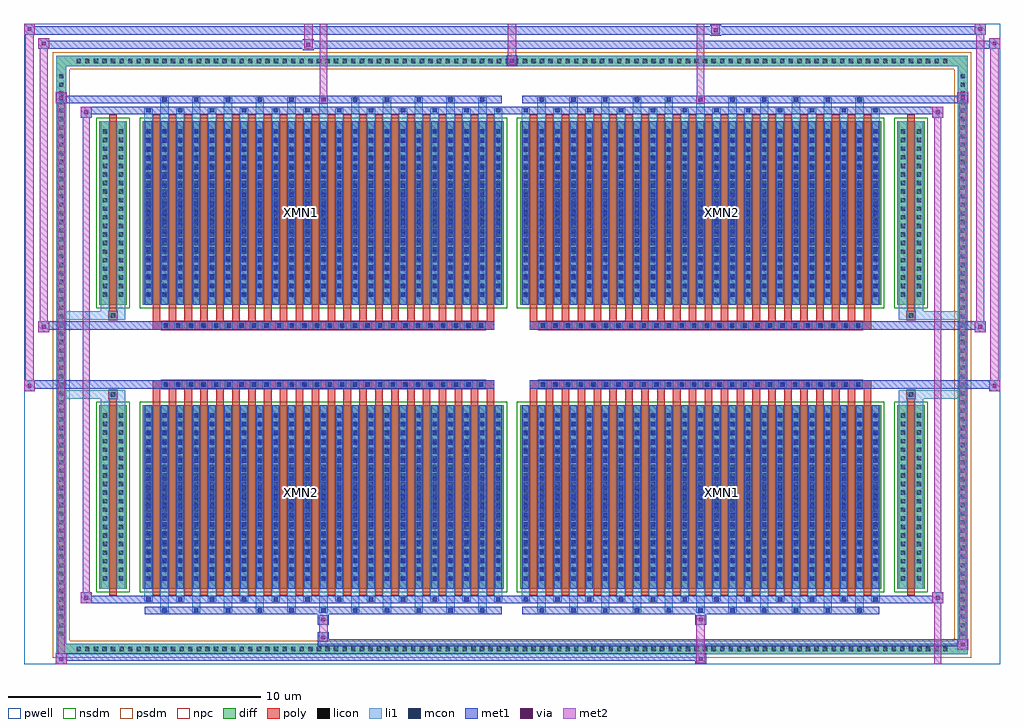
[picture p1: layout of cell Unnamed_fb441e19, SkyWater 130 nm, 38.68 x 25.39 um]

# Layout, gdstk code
import gdstk
lib = gdstk.Library(unit=1e-6, precision=1e-09)
def R(c, l, rs):  # rectangles x0, y0, x1, y1
    for r in rs: c.add(gdstk.rectangle(r[:2], r[2:], *l))
def A(c, l, x, y, w, h, nx, ny, dx, dy):  # array of equal rectangles
    R(c, l, [(x+i*dx, y+j*dy, x+i*dx+w, y+j*dy+h) for i in range(nx) for j in range(ny)])
def P(c, l, *ps):  # polygons
    for p in ps: c.add(gdstk.Polygon(p, *l))
pwell = (64, 44)
diff = (65, 20)
poly = (66, 20)
licon = (66, 44)
li1 = (67, 20)
mcon = (67, 44)
met1 = (68, 20)
via = (68, 44)
met2 = (69, 20)
nsdm = (93, 44)
psdm = (94, 20)
npc = (95, 20)

unnamed_fb441e19 = lib.new_cell('Unnamed_fb441e19')
R(unnamed_fb441e19, pwell, [(-19.34,-12.26,19.34,13.13), (-16.66,-10.45,-0.01,-0.805), (0.01,-10.45,16.66,-0.805), (-16.66,0.805,-0.01,10.45), (0.01,0.805,16.66,10.45)])
A(unnamed_fb441e19, diff, -17.375, -11.86, 0.41, 0.41, 102, 2, 0.34, 23.31)
A(unnamed_fb441e19, diff, -18.07, -11.255, 0.41, 0.41, 1, 66, 0, 0.34)
A(unnamed_fb441e19, diff, 17.66, -11.255, 0.41, 0.41, 1, 66, 0, 0.34)
R(unnamed_fb441e19, diff, [(-17.375,-11.86,17.375,-11.45), (-18.07,-11.255,-17.66,11.255), (17.66,-11.255,18.07,11.255), (-16.35,-9.265,-15.27,-1.985), (-14.63,-9.265,-0.32,-1.985), (0.32,-9.265,14.63,-1.985), (15.27,-9.265,16.35,-1.985), (-16.35,1.985,-15.27,9.265), (-14.63,1.985,-0.32,9.265), (0.32,1.985,14.63,9.265), (15.27,1.985,16.35,9.265), (-17.375,11.45,17.375,11.86)])
P(unnamed_fb441e19, diff, [(18.07,11.86),(-18.07,11.86),(-18.07,-11.45),(-17.66,-11.45),(-17.66,11.45),(17.66,11.45),(17.66,-11.45),(-17.66,-11.45),(-18.07,-11.45),(-18.07,-11.86),(18.07,-11.86)])
A(unnamed_fb441e19, poly, -14.24, -9.515, 0.3, 7.78, 22, 2, 0.63, 11.25)
A(unnamed_fb441e19, poly, 0.71, -9.515, 0.3, 7.78, 22, 2, 0.63, 11.25)
A(unnamed_fb441e19, poly, -14.24, -1.735, 0.3, 0.4, 22, 2, 0.63, 3.07)
A(unnamed_fb441e19, poly, 0.71, -1.735, 0.3, 0.4, 22, 2, 0.63, 3.07)
A(unnamed_fb441e19, poly, -13.89, -1.335, 0.33, 0.33, 26, 2, 0.5, 2.34)
A(unnamed_fb441e19, poly, 1.06, -1.335, 0.33, 0.33, 26, 2, 0.5, 2.34)
R(unnamed_fb441e19, poly, [(-15.96,-9.515,-15.66,-1.735), (15.66,-9.515,15.96,-1.735), (-15.975,-1.735,-15.645,-1.405), (-15.975,-1.735,-15.645,-1.405), (15.645,-1.735,15.975,-1.405), (15.645,-1.735,15.975,-1.405), (-14.24,-1.335,-0.71,-1.005), (0.71,-1.335,14.24,-1.005), (-14.24,1.005,-0.71,1.335), (0.71,1.005,14.24,1.335), (-15.975,1.405,-15.645,1.735), (-15.975,1.405,-15.645,1.735), (15.645,1.405,15.975,1.735), (15.645,1.405,15.975,1.735), (-15.96,1.735,-15.66,9.515), (15.66,1.735,15.96,9.515)])
A(unnamed_fb441e19, licon, -17.255, -11.74, 0.17, 0.17, 102, 2, 0.34, 23.31)
A(unnamed_fb441e19, licon, -17.95, -11.135, 0.17, 0.17, 1, 66, 0, 0.34)
A(unnamed_fb441e19, licon, 17.78, -11.135, 0.17, 0.17, 1, 66, 0, 0.34)
A(unnamed_fb441e19, licon, -16.21, -8.94, 0.17, 0.17, 1, 20, 0, 0.34)
A(unnamed_fb441e19, licon, -15.58, -8.94, 0.17, 0.17, 1, 20, 0, 0.34)
A(unnamed_fb441e19, licon, -14.49, -8.94, 0.17, 0.17, 23, 20, 0.63, 0.34)
A(unnamed_fb441e19, licon, 0.46, -8.94, 0.17, 0.17, 23, 20, 0.63, 0.34)
A(unnamed_fb441e19, licon, 15.41, -8.94, 0.17, 0.17, 1, 20, 0, 0.34)
A(unnamed_fb441e19, licon, 16.04, -8.94, 0.17, 0.17, 1, 20, 0, 0.34)
A(unnamed_fb441e19, licon, -13.81, -1.255, 0.17, 0.17, 26, 2, 0.5, 2.34)
A(unnamed_fb441e19, licon, 1.14, -1.255, 0.17, 0.17, 26, 2, 0.5, 2.34)
A(unnamed_fb441e19, licon, -16.21, 2.31, 0.17, 0.17, 1, 20, 0, 0.34)
A(unnamed_fb441e19, licon, -15.58, 2.31, 0.17, 0.17, 1, 20, 0, 0.34)
A(unnamed_fb441e19, licon, -14.49, 2.31, 0.17, 0.17, 23, 20, 0.63, 0.34)
A(unnamed_fb441e19, licon, 0.46, 2.31, 0.17, 0.17, 23, 20, 0.63, 0.34)
A(unnamed_fb441e19, licon, 15.41, 2.31, 0.17, 0.17, 1, 20, 0, 0.34)
A(unnamed_fb441e19, licon, 16.04, 2.31, 0.17, 0.17, 1, 20, 0, 0.34)
R(unnamed_fb441e19, licon, [(-15.895,-1.655,-15.725,-1.485), (15.725,-1.655,15.895,-1.485), (-15.895,1.485,-15.725,1.655), (15.725,1.485,15.895,1.655)])
A(unnamed_fb441e19, li1, -17.335, -11.82, 0.33, 0.33, 102, 2, 0.34, 23.31)
A(unnamed_fb441e19, li1, -18.03, -11.215, 0.33, 0.33, 1, 66, 0, 0.34)
A(unnamed_fb441e19, li1, 17.7, -11.215, 0.33, 0.33, 1, 66, 0, 0.34)
A(unnamed_fb441e19, li1, -13.94, -10.21, 0.33, 0.945, 11, 2, 1.26, 19.475)
A(unnamed_fb441e19, li1, -13.86, -10.21, 0.17, 0.17, 11, 2, 1.26, 20.25)
A(unnamed_fb441e19, li1, 1.01, -10.21, 0.33, 0.945, 11, 2, 1.26, 19.475)
A(unnamed_fb441e19, li1, 1.09, -10.21, 0.17, 0.17, 11, 2, 1.26, 20.25)
A(unnamed_fb441e19, li1, -14.57, -9.78, 0.33, 0.515, 12, 2, 1.26, 19.045)
A(unnamed_fb441e19, li1, -14.49, -9.78, 0.17, 0.17, 12, 2, 1.26, 19.39)
A(unnamed_fb441e19, li1, 0.38, -9.78, 0.33, 0.515, 12, 2, 1.26, 19.045)
A(unnamed_fb441e19, li1, 0.46, -9.78, 0.17, 0.17, 12, 2, 1.26, 19.39)
A(unnamed_fb441e19, li1, -14.57, -9.265, 0.33, 7.28, 23, 2, 0.63, 11.25)
A(unnamed_fb441e19, li1, 0.38, -9.265, 0.33, 7.28, 23, 2, 0.63, 11.25)
A(unnamed_fb441e19, li1, -16.29, -9.02, 0.33, 0.33, 1, 20, 0, 0.34)
A(unnamed_fb441e19, li1, -15.66, -9.02, 0.33, 0.33, 1, 20, 0, 0.34)
A(unnamed_fb441e19, li1, -14.57, -9.02, 0.33, 0.33, 23, 20, 0.63, 0.34)
A(unnamed_fb441e19, li1, 0.38, -9.02, 0.33, 0.33, 23, 20, 0.63, 0.34)
A(unnamed_fb441e19, li1, 15.33, -9.02, 0.33, 0.33, 1, 20, 0, 0.34)
A(unnamed_fb441e19, li1, 15.96, -9.02, 0.33, 0.33, 1, 20, 0, 0.34)
A(unnamed_fb441e19, li1, -14.49, -8.95, 0.17, 0.17, 23, 19, 0.63, 0.36)
A(unnamed_fb441e19, li1, -14.49, -8.95, 0.17, 6.65, 23, 2, 0.63, 11.25)
A(unnamed_fb441e19, li1, 0.46, -8.95, 0.17, 0.17, 23, 19, 0.63, 0.36)
A(unnamed_fb441e19, li1, 0.46, -8.95, 0.17, 6.65, 23, 2, 0.63, 11.25)
A(unnamed_fb441e19, li1, -13.89, -1.335, 0.33, 0.33, 26, 2, 0.5, 2.34)
A(unnamed_fb441e19, li1, 1.06, -1.335, 0.33, 0.33, 26, 2, 0.5, 2.34)
A(unnamed_fb441e19, li1, -16.29, 2.23, 0.33, 0.33, 1, 20, 0, 0.34)
A(unnamed_fb441e19, li1, -15.66, 2.23, 0.33, 0.33, 1, 20, 0, 0.34)
A(unnamed_fb441e19, li1, -14.57, 2.23, 0.33, 0.33, 23, 20, 0.63, 0.34)
A(unnamed_fb441e19, li1, 0.38, 2.23, 0.33, 0.33, 23, 20, 0.63, 0.34)
A(unnamed_fb441e19, li1, 15.33, 2.23, 0.33, 0.33, 1, 20, 0, 0.34)
A(unnamed_fb441e19, li1, 15.96, 2.23, 0.33, 0.33, 1, 20, 0, 0.34)
A(unnamed_fb441e19, li1, -14.49, 2.3, 0.17, 0.17, 23, 19, 0.63, 0.36)
A(unnamed_fb441e19, li1, 0.46, 2.3, 0.17, 0.17, 23, 19, 0.63, 0.36)
R(unnamed_fb441e19, li1, [(-18.07,-11.86,-17.66,-11.45), (-18.07,-11.86,-17.66,-11.45), (-17.66,-11.86,17.66,-11.45), (17.66,-11.86,18.07,-11.45), (17.66,-11.86,18.07,-11.45), (-18.07,-11.45,-17.66,11.45), (17.66,-11.45,18.07,11.45), (-16.29,-9.265,-15.96,-1.985), (-15.66,-9.265,-15.33,-1.985), (15.33,-9.265,15.66,-1.985), (15.96,-9.265,16.29,-1.985), (-16.29,-1.985,-15.96,-1.405), (-15.66,-1.985,-15.33,-1.405), (15.33,-1.985,15.66,-1.405), (15.96,-1.985,16.29,-1.405), (-18.07,-1.735,-15.975,-1.405), (-16.29,-1.735,-15.975,-1.405), (-15.975,-1.735,-15.645,-1.405), (-15.645,-1.735,-15.33,-1.405), (15.33,-1.735,15.645,-1.405), (15.645,-1.735,15.975,-1.405), (15.645,-1.735,18.07,-1.405), (15.975,-1.735,16.29,-1.405), (-18.07,1.405,-15.975,1.735), (-16.29,1.405,-15.975,1.735), (-16.29,1.405,-15.96,1.985), (-15.975,1.405,-15.645,1.735), (-15.66,1.405,-15.33,1.985), (-15.645,1.405,-15.33,1.735), (15.33,1.405,15.645,1.735), (15.33,1.405,15.66,1.985), (15.645,1.405,15.975,1.735), (15.645,1.405,18.07,1.735), (15.96,1.405,16.29,1.985), (15.975,1.405,16.29,1.735), (-16.29,1.985,-15.96,9.265), (-15.66,1.985,-15.33,9.265), (15.33,1.985,15.66,9.265), (15.96,1.985,16.29,9.265), (-18.07,11.45,-17.66,11.86), (-18.07,11.45,-17.66,11.86), (-17.66,11.45,17.66,11.86), (17.66,11.45,18.07,11.86), (17.66,11.45,18.07,11.86), (-0.085,11.575,0.085,11.745)])
A(unnamed_fb441e19, mcon, -13.86, -10.21, 0.17, 0.17, 11, 2, 1.26, 20.25)
A(unnamed_fb441e19, mcon, 1.09, -10.21, 0.17, 0.17, 11, 2, 1.26, 20.25)
A(unnamed_fb441e19, mcon, -14.49, -9.78, 0.17, 0.17, 12, 2, 1.26, 19.39)
A(unnamed_fb441e19, mcon, 0.46, -9.78, 0.17, 0.17, 12, 2, 1.26, 19.39)
A(unnamed_fb441e19, mcon, -14.49, -8.95, 0.17, 0.17, 23, 19, 0.63, 0.36)
A(unnamed_fb441e19, mcon, 0.46, -8.95, 0.17, 0.17, 23, 19, 0.63, 0.36)
A(unnamed_fb441e19, mcon, -13.81, -1.255, 0.17, 0.17, 26, 2, 0.5, 2.34)
A(unnamed_fb441e19, mcon, 1.14, -1.255, 0.17, 0.17, 26, 2, 0.5, 2.34)
A(unnamed_fb441e19, mcon, -14.49, 2.3, 0.17, 0.17, 23, 19, 0.63, 0.36)
A(unnamed_fb441e19, mcon, 0.46, 2.3, 0.17, 0.17, 23, 19, 0.63, 0.36)
R(unnamed_fb441e19, mcon, [(-0.085,11.575,0.085,11.745)])
A(unnamed_fb441e19, met1, -13.92, -10.27, 0.29, 0.29, 11, 2, 1.26, 20.25)
A(unnamed_fb441e19, met1, 1.03, -10.27, 0.29, 0.29, 11, 2, 1.26, 20.25)
A(unnamed_fb441e19, met1, -14.55, -9.84, 0.29, 0.29, 12, 2, 1.26, 19.39)
A(unnamed_fb441e19, met1, 0.4, -9.84, 0.29, 0.29, 12, 2, 1.26, 19.39)
A(unnamed_fb441e19, met1, -14.55, -9.265, 0.29, 7.28, 23, 2, 0.63, 11.25)
A(unnamed_fb441e19, met1, 0.4, -9.265, 0.29, 7.28, 23, 2, 0.63, 11.25)
A(unnamed_fb441e19, met1, -14.55, -9.01, 0.29, 0.29, 23, 19, 0.63, 0.36)
A(unnamed_fb441e19, met1, 0.4, -9.01, 0.29, 0.29, 23, 19, 0.63, 0.36)
A(unnamed_fb441e19, met1, -13.87, -1.315, 0.29, 0.29, 26, 2, 0.5, 2.34)
A(unnamed_fb441e19, met1, 1.08, -1.315, 0.29, 0.29, 26, 2, 0.5, 2.34)
A(unnamed_fb441e19, met1, -14.55, 2.24, 0.29, 0.29, 23, 19, 0.63, 0.36)
A(unnamed_fb441e19, met1, 0.4, 2.24, 0.29, 0.29, 23, 19, 0.63, 0.36)
R(unnamed_fb441e19, met1, [(-18.08,-12.26,-17.65,-11.83), (7.26,-12.26,7.69,-11.83), (-18.08,-12.12,7.69,-11.83), (17.65,-11.69,18.08,-11.26), (-7.69,-11.55,18.08,-11.26), (-7.69,-11.41,-7.26,-10.98), (-7.69,-10.7,-7.26,-10.27), (7.26,-10.7,7.69,-10.27), (-14.55,-10.27,-0.4,-9.98), (0.4,-10.27,14.55,-9.98), (-17.09,-9.84,-16.66,-9.41), (-17.09,-9.84,-14.55,-9.55), (-14.55,-9.84,-0.4,-9.55), (-0.4,-9.84,0.4,-9.55), (0.4,-9.84,14.55,-9.55), (14.55,-9.84,17.09,-9.55), (16.66,-9.84,17.09,-9.41), (-19.34,-1.435,-18.91,-1.005), (18.91,-1.435,19.34,-1.005), (-19.34,-1.335,-0.71,-1.005), (-14.24,-1.335,-0.71,-1.005), (0.71,-1.335,14.24,-1.005), (0.71,-1.335,19.34,-1.005), (-18.77,0.905,-18.34,1.335), (18.34,0.905,18.77,1.335), (-18.77,1.005,-14.24,1.335), (-14.24,1.005,-0.71,1.335), (0.71,1.005,14.24,1.335), (14.24,1.005,18.77,1.335), (-17.09,9.41,-16.66,9.84), (16.66,9.41,17.09,9.84), (-17.09,9.55,-14.55,9.84), (-14.55,9.55,-0.4,9.84), (-0.4,9.55,0.4,9.84), (0.4,9.55,14.55,9.84), (14.55,9.55,17.09,9.84), (-18.08,9.98,-17.65,10.41), (-18.08,9.98,-14.55,10.27), (-14.55,9.98,-0.4,10.27), (0.4,9.98,14.55,10.27), (14.55,9.98,18.08,10.27), (17.65,9.98,18.08,10.41), (-0.215,11.445,0.215,11.875), (-8.285,12.085,-7.855,12.515), (-18.77,12.13,-18.34,12.56), (-18.77,12.13,-16.66,12.46), (-16.66,12.13,16.66,12.46), (16.66,12.13,19.34,12.46), (18.91,12.13,19.34,12.56), (7.855,12.655,8.285,13.085), (-19.34,12.7,-18.91,13.13), (-19.34,12.7,-16.66,13.03), (-16.66,12.7,16.66,13.03), (16.66,12.7,18.77,13.03), (18.34,12.7,18.77,13.13)])
R(unnamed_fb441e19, via, [(-17.94,-12.12,-17.79,-11.97), (7.4,-12.12,7.55,-11.97), (17.79,-11.55,17.94,-11.4), (-7.55,-11.27,-7.4,-11.12), (-7.55,-10.56,-7.4,-10.41), (7.4,-10.56,7.55,-10.41), (-16.95,-9.7,-16.8,-9.55), (16.8,-9.7,16.95,-9.55), (-19.2,-1.295,-19.05,-1.145), (19.05,-1.295,19.2,-1.145), (-18.63,1.045,-18.48,1.195), (18.48,1.045,18.63,1.195), (-16.95,9.55,-16.8,9.7), (16.8,9.55,16.95,9.7), (-7.55,10.05,-7.4,10.2), (7.4,10.05,7.55,10.2), (-17.94,10.12,-17.79,10.27), (17.79,10.12,17.94,10.27), (-0.075,11.585,0.075,11.735), (-8.145,12.225,-7.995,12.375), (-18.63,12.27,-18.48,12.42), (19.05,12.27,19.2,12.42), (7.995,12.795,8.145,12.945), (-19.2,12.84,-19.05,12.99), (18.48,12.84,18.63,12.99)])
R(unnamed_fb441e19, met2, [(-18.08,-12.26,-17.65,-11.83), (-18.01,-12.26,-17.72,10.41), (-17.72,-12.26,-17.65,-11.83), (16.73,-12.26,17.02,-9.84), (-18.03,-12.21,-17.7,-11.88), (7.31,-12.21,7.64,-11.88), (7.31,-11.88,7.64,-10.65), (17.65,-11.69,18.08,-11.26), (17.72,-11.69,18.01,10.41), (18.01,-11.69,18.08,-11.26), (17.7,-11.64,18.03,-11.31), (-7.64,-11.36,-7.31,-11.03), (-7.64,-11.03,-7.31,-10.65), (-7.64,-10.65,-7.31,-10.32), (7.31,-10.65,7.64,-10.32), (-17.09,-9.84,-16.66,-9.41), (-17.02,-9.84,-16.73,9.84), (-16.73,-9.84,-16.66,-9.41), (16.66,-9.84,17.09,-9.41), (16.73,-9.84,17.02,9.84), (17.02,-9.84,17.09,-9.41), (-17.04,-9.79,-16.71,-9.46), (16.71,-9.79,17.04,-9.46), (-19.34,-1.435,-18.91,-1.005), (-19.29,-1.435,-18.96,13.13), (-18.96,-1.435,-18.91,-1.005), (18.91,-1.435,19.34,-1.005), (18.96,-1.435,19.29,12.56), (19.29,-1.435,19.34,-1.005), (-19.29,-1.385,-18.96,-1.055), (18.96,-1.385,19.29,-1.055), (-18.77,0.905,-18.34,1.335), (-18.72,0.905,-18.39,12.56), (-18.39,0.905,-18.34,1.335), (18.34,0.905,18.77,1.335), (18.39,0.905,18.72,13.13), (18.72,0.905,18.77,1.335), (-18.72,0.955,-18.39,1.285), (18.39,0.955,18.72,1.285), (-17.09,9.41,-16.66,9.84), (-16.73,9.41,-16.66,9.84), (16.66,9.41,17.09,9.84), (17.02,9.41,17.09,9.84), (-17.04,9.46,-16.71,9.79), (16.71,9.46,17.04,9.79), (-7.64,9.96,-7.31,10.29), (-7.62,9.96,-7.33,13.13), (7.31,9.96,7.64,10.29), (7.33,9.96,7.62,13.13), (-18.08,9.98,-17.65,10.41), (-17.72,9.98,-17.65,10.41), (17.65,9.98,18.08,10.41), (18.01,9.98,18.08,10.41), (-18.03,10.03,-17.7,10.36), (17.7,10.03,18.03,10.36), (-0.165,11.495,0.165,11.825), (-0.165,11.66,0.165,13.13), (-18.77,12.13,-18.34,12.56), (-18.39,12.13,-18.34,12.56), (18.91,12.13,19.34,12.56), (19.29,12.13,19.34,12.56), (-8.235,12.135,-7.905,12.465), (-18.72,12.18,-18.39,12.51), (18.96,12.18,19.29,12.51), (-8.235,12.3,-7.905,13.13), (-19.34,12.7,-18.91,13.13), (-18.96,12.7,-18.91,13.13), (18.34,12.7,18.77,13.13), (18.72,12.7,18.77,13.13), (7.905,12.705,8.235,13.035), (-19.29,12.75,-18.96,13.08), (18.39,12.75,18.72,13.08), (7.905,12.87,8.235,13.13)])
R(unnamed_fb441e19, nsdm, [(-16.48,-9.395,-15.14,-1.855), (-14.76,-9.395,-0.19,-1.855), (0.19,-9.395,14.76,-1.855), (15.14,-9.395,16.48,-1.855), (-16.48,1.855,-15.14,9.395), (-14.76,1.855,-0.19,9.395), (0.19,1.855,14.76,9.395), (15.14,1.855,16.48,9.395)])
P(unnamed_fb441e19, psdm, [(18.2,11.99),(-18.2,11.99),(-18.2,-11.32),(-17.53,-11.32),(-17.53,11.32),(17.53,11.32),(17.53,-11.32),(-17.53,-11.32),(-18.2,-11.32),(-18.2,-11.99),(18.2,-11.99)])
A(unnamed_fb441e19, npc, -13.91, -1.355, 0.37, 0.37, 26, 2, 0.5, 2.34)
A(unnamed_fb441e19, npc, 1.04, -1.355, 0.37, 0.37, 26, 2, 0.5, 2.34)
R(unnamed_fb441e19, npc, [(-15.995,-1.755,-15.625,-1.385), (15.625,-1.755,15.995,-1.385), (-13.91,-1.355,-13.04,-0.985), (-13.91,-1.355,-13.04,-0.985), (-13.41,-1.355,-12.54,-0.985), (-13.41,-1.355,-12.54,-0.985), (-12.91,-1.355,-12.04,-0.985), (-12.91,-1.355,-12.04,-0.985), (-12.41,-1.355,-11.54,-0.985), (-12.41,-1.355,-11.54,-0.985), (-11.91,-1.355,-11.04,-0.985), (-11.91,-1.355,-11.04,-0.985), (-11.41,-1.355,-10.54,-0.985), (-11.41,-1.355,-10.54,-0.985), (-10.91,-1.355,-10.04,-0.985), (-10.91,-1.355,-10.04,-0.985), (-10.41,-1.355,-9.54,-0.985), (-10.41,-1.355,-9.54,-0.985), (-9.91,-1.355,-9.04,-0.985), (-9.91,-1.355,-9.04,-0.985), (-9.41,-1.355,-8.54,-0.985), (-9.41,-1.355,-8.54,-0.985), (-8.91,-1.355,-8.04,-0.985), (-8.91,-1.355,-8.04,-0.985), (-8.41,-1.355,-7.54,-0.985), (-8.41,-1.355,-7.54,-0.985), (-7.91,-1.355,-7.04,-0.985), (-7.91,-1.355,-7.04,-0.985), (-7.41,-1.355,-6.54,-0.985), (-7.41,-1.355,-6.54,-0.985), (-6.91,-1.355,-6.04,-0.985), (-6.91,-1.355,-6.04,-0.985), (-6.41,-1.355,-5.54,-0.985), (-6.41,-1.355,-5.54,-0.985), (-5.91,-1.355,-5.04,-0.985), (-5.91,-1.355,-5.04,-0.985), (-5.41,-1.355,-4.54,-0.985), (-5.41,-1.355,-4.54,-0.985), (-4.91,-1.355,-4.04,-0.985), (-4.91,-1.355,-4.04,-0.985), (-4.41,-1.355,-3.54,-0.985), (-4.41,-1.355,-3.54,-0.985), (-3.91,-1.355,-3.04,-0.985), (-3.91,-1.355,-3.04,-0.985), (-3.41,-1.355,-2.54,-0.985), (-3.41,-1.355,-2.54,-0.985), (-2.91,-1.355,-2.04,-0.985), (-2.91,-1.355,-2.04,-0.985), (-2.41,-1.355,-1.54,-0.985), (-2.41,-1.355,-1.54,-0.985), (-1.91,-1.355,-1.04,-0.985), (-1.91,-1.355,-1.04,-0.985), (1.04,-1.355,1.91,-0.985), (1.04,-1.355,1.91,-0.985), (1.54,-1.355,2.41,-0.985), (1.54,-1.355,2.41,-0.985), (2.04,-1.355,2.91,-0.985), (2.04,-1.355,2.91,-0.985), (2.54,-1.355,3.41,-0.985), (2.54,-1.355,3.41,-0.985), (3.04,-1.355,3.91,-0.985), (3.04,-1.355,3.91,-0.985), (3.54,-1.355,4.41,-0.985), (3.54,-1.355,4.41,-0.985), (4.04,-1.355,4.91,-0.985), (4.04,-1.355,4.91,-0.985), (4.54,-1.355,5.41,-0.985), (4.54,-1.355,5.41,-0.985), (5.04,-1.355,5.91,-0.985), (5.04,-1.355,5.91,-0.985), (5.54,-1.355,6.41,-0.985), (5.54,-1.355,6.41,-0.985), (6.04,-1.355,6.91,-0.985), (6.04,-1.355,6.91,-0.985), (6.54,-1.355,7.41,-0.985), (6.54,-1.355,7.41,-0.985), (7.04,-1.355,7.91,-0.985), (7.04,-1.355,7.91,-0.985), (7.54,-1.355,8.41,-0.985), (7.54,-1.355,8.41,-0.985), (8.04,-1.355,8.91,-0.985), (8.04,-1.355,8.91,-0.985), (8.54,-1.355,9.41,-0.985), (8.54,-1.355,9.41,-0.985), (9.04,-1.355,9.91,-0.985), (9.04,-1.355,9.91,-0.985), (9.54,-1.355,10.41,-0.985), (9.54,-1.355,10.41,-0.985), (10.04,-1.355,10.91,-0.985), (10.04,-1.355,10.91,-0.985), (10.54,-1.355,11.41,-0.985), (10.54,-1.355,11.41,-0.985), (11.04,-1.355,11.91,-0.985), (11.04,-1.355,11.91,-0.985), (11.54,-1.355,12.41,-0.985), (11.54,-1.355,12.41,-0.985), (12.04,-1.355,12.91,-0.985), (12.04,-1.355,12.91,-0.985), (12.54,-1.355,13.41,-0.985), (12.54,-1.355,13.41,-0.985), (13.04,-1.355,13.91,-0.985), (13.04,-1.355,13.91,-0.985), (-13.91,0.985,-13.04,1.355), (-13.91,0.985,-13.04,1.355), (-13.41,0.985,-12.54,1.355), (-13.41,0.985,-12.54,1.355), (-12.91,0.985,-12.04,1.355), (-12.91,0.985,-12.04,1.355), (-12.41,0.985,-11.54,1.355), (-12.41,0.985,-11.54,1.355), (-11.91,0.985,-11.04,1.355), (-11.91,0.985,-11.04,1.355), (-11.41,0.985,-10.54,1.355), (-11.41,0.985,-10.54,1.355), (-10.91,0.985,-10.04,1.355), (-10.91,0.985,-10.04,1.355), (-10.41,0.985,-9.54,1.355), (-10.41,0.985,-9.54,1.355), (-9.91,0.985,-9.04,1.355), (-9.91,0.985,-9.04,1.355), (-9.41,0.985,-8.54,1.355), (-9.41,0.985,-8.54,1.355), (-8.91,0.985,-8.04,1.355), (-8.91,0.985,-8.04,1.355), (-8.41,0.985,-7.54,1.355), (-8.41,0.985,-7.54,1.355), (-7.91,0.985,-7.04,1.355), (-7.91,0.985,-7.04,1.355), (-7.41,0.985,-6.54,1.355), (-7.41,0.985,-6.54,1.355), (-6.91,0.985,-6.04,1.355), (-6.91,0.985,-6.04,1.355), (-6.41,0.985,-5.54,1.355), (-6.41,0.985,-5.54,1.355), (-5.91,0.985,-5.04,1.355), (-5.91,0.985,-5.04,1.355), (-5.41,0.985,-4.54,1.355), (-5.41,0.985,-4.54,1.355), (-4.91,0.985,-4.04,1.355), (-4.91,0.985,-4.04,1.355), (-4.41,0.985,-3.54,1.355), (-4.41,0.985,-3.54,1.355), (-3.91,0.985,-3.04,1.355), (-3.91,0.985,-3.04,1.355), (-3.41,0.985,-2.54,1.355), (-3.41,0.985,-2.54,1.355), (-2.91,0.985,-2.04,1.355), (-2.91,0.985,-2.04,1.355), (-2.41,0.985,-1.54,1.355), (-2.41,0.985,-1.54,1.355), (-1.91,0.985,-1.04,1.355), (-1.91,0.985,-1.04,1.355), (1.04,0.985,1.91,1.355), (1.04,0.985,1.91,1.355), (1.54,0.985,2.41,1.355), (1.54,0.985,2.41,1.355), (2.04,0.985,2.91,1.355), (2.04,0.985,2.91,1.355), (2.54,0.985,3.41,1.355), (2.54,0.985,3.41,1.355), (3.04,0.985,3.91,1.355), (3.04,0.985,3.91,1.355), (3.54,0.985,4.41,1.355), (3.54,0.985,4.41,1.355), (4.04,0.985,4.91,1.355), (4.04,0.985,4.91,1.355), (4.54,0.985,5.41,1.355), (4.54,0.985,5.41,1.355), (5.04,0.985,5.91,1.355), (5.04,0.985,5.91,1.355), (5.54,0.985,6.41,1.355), (5.54,0.985,6.41,1.355), (6.04,0.985,6.91,1.355), (6.04,0.985,6.91,1.355), (6.54,0.985,7.41,1.355), (6.54,0.985,7.41,1.355), (7.04,0.985,7.91,1.355), (7.04,0.985,7.91,1.355), (7.54,0.985,8.41,1.355), (7.54,0.985,8.41,1.355), (8.04,0.985,8.91,1.355), (8.04,0.985,8.91,1.355), (8.54,0.985,9.41,1.355), (8.54,0.985,9.41,1.355), (9.04,0.985,9.91,1.355), (9.04,0.985,9.91,1.355), (9.54,0.985,10.41,1.355), (9.54,0.985,10.41,1.355), (10.04,0.985,10.91,1.355), (10.04,0.985,10.91,1.355), (10.54,0.985,11.41,1.355), (10.54,0.985,11.41,1.355), (11.04,0.985,11.91,1.355), (11.04,0.985,11.91,1.355), (11.54,0.985,12.41,1.355), (11.54,0.985,12.41,1.355), (12.04,0.985,12.91,1.355), (12.04,0.985,12.91,1.355), (12.54,0.985,13.41,1.355), (12.54,0.985,13.41,1.355), (13.04,0.985,13.91,1.355), (13.04,0.985,13.91,1.355), (-15.995,1.385,-15.625,1.755), (15.625,1.385,15.995,1.755)])
unnamed_fb441e19.add(gdstk.Label('XMN2', (-8.335,-5.465), layer=71, texttype=5))
unnamed_fb441e19.add(gdstk.Label('XMN1', (8.335,-5.465), layer=71, texttype=5))
unnamed_fb441e19.add(gdstk.Label('XMN1', (-8.335,5.63), layer=71, texttype=5))
unnamed_fb441e19.add(gdstk.Label('XMN2', (8.335,5.63), layer=71, texttype=5))

lib.write_gds('Unnamed_fb441e19.gds')
